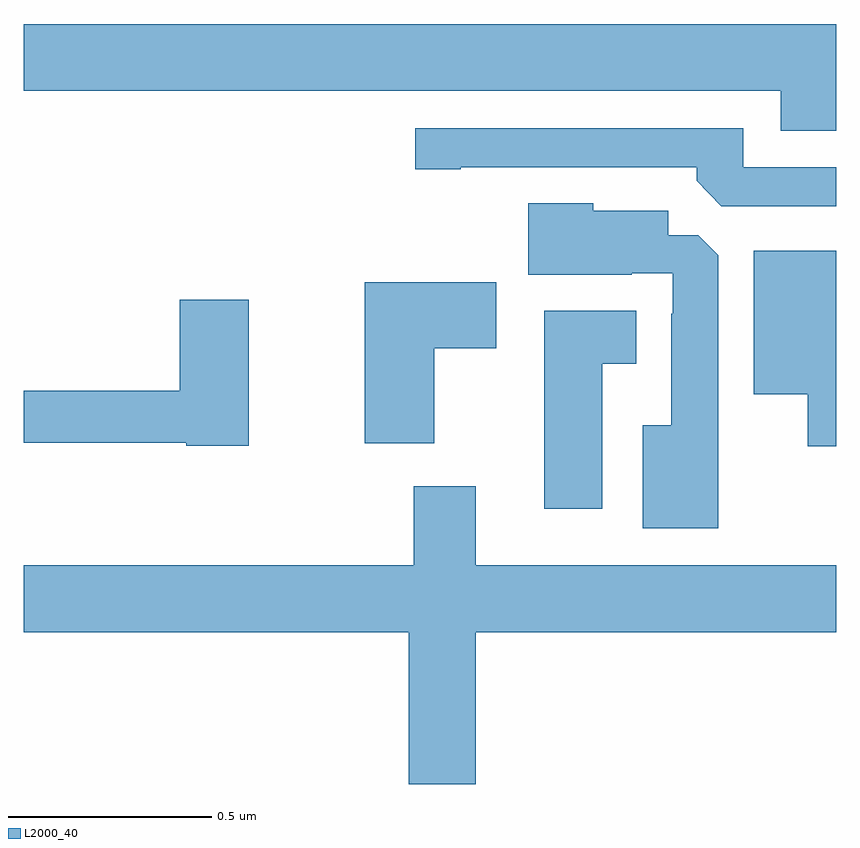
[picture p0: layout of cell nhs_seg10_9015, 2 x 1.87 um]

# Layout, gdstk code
import gdstk
lib = gdstk.Library(unit=1e-6, precision=1e-09)
def P(c, l, *ps):  # polygons
    for p in ps: c.add(gdstk.Polygon(p, *l))
L2000_40 = (2000, 40)

nhs_seg10_9015 = lib.new_cell('nhs_seg10_9015')
P(nhs_seg10_9015, L2000_40, [(226,1280.5),(224,1280.5),(224,1280.336),(225.863,1280.336),(225.863,1280.237),(226,1280.237)],
  [(226,1280.148),(225.771,1280.148),(225.771,1280.244),(224.964,1280.244),(224.964,1280.143),(225.076,1280.143),(225.076,1280.148),(225.656,1280.148),(225.656,1280.114),(225.717,1280.052),(226,1280.052)],
  [(225.709,1279.931),(225.66,1279.98),(225.586,1279.98),(225.586,1280.041),(225.402,1280.041),(225.402,1280.059),(225.242,1280.059),(225.242,1279.883),(225.497,1279.883),(225.497,1279.887),(225.597,1279.887),(225.597,1279.787),(225.593,1279.787),(225.593,1279.513),(225.524,1279.513),(225.524,1279.259),(225.709,1279.259)],
  [(226,1279.942),(225.797,1279.942),(225.797,1279.589),(225.929,1279.589),(225.929,1279.461),(226,1279.461)],
  [(225.01,1279.702),(225.163,1279.702),(225.163,1279.864),(224.84,1279.864),(224.84,1279.469),(225.01,1279.469)],
  [(224.554,1279.822),(224.384,1279.822),(224.384,1279.598),(224,1279.598),(224,1279.47),(224.4,1279.47),(224.4,1279.462),(224.554,1279.462)],
  [(225.424,1279.664),(225.508,1279.664),(225.508,1279.795),(225.281,1279.795),(225.281,1279.307),(225.424,1279.307)],
  [(225.112,1279.004),(226,1279.004),(226,1279.168),(225.112,1279.168),(225.112,1279.363),(224.96,1279.363),(224.96,1279.168),(224,1279.168),(224,1279.004),(224.948,1279.004),(224.948,1278.63),(225.112,1278.63)])

lib.write_gds('nhs_seg10_9015.gds')
